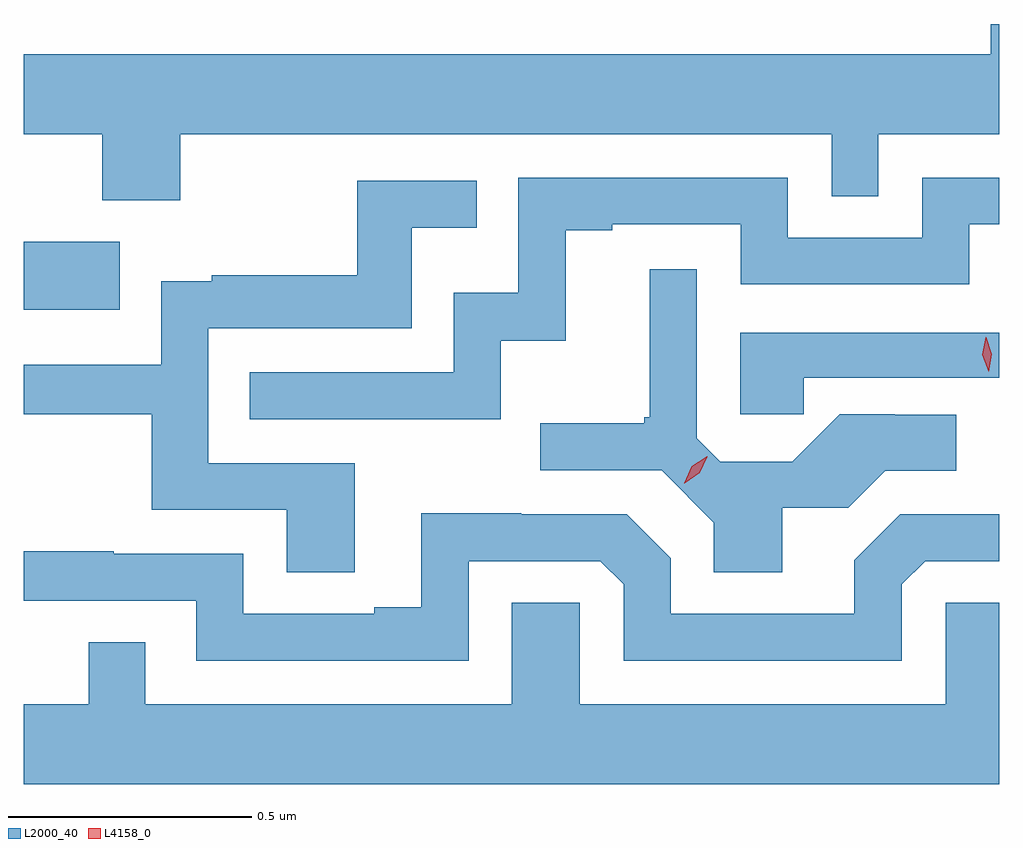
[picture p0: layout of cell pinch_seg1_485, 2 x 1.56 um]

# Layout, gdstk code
import gdstk
lib = gdstk.Library(unit=1e-6, precision=1e-09)
def R(c, l, rs):  # rectangles x0, y0, x1, y1
    for r in rs: c.add(gdstk.rectangle(r[:2], r[2:], *l))
def P(c, l, *ps):  # polygons
    for p in ps: c.add(gdstk.Polygon(p, *l))
L2000_40 = (2000, 40)
L4158_0 = (4158, 0)

pinch_seg1_485 = lib.new_cell('pinch_seg1_485')
R(pinch_seg1_485, L2000_40, [(1085.334,542.048,1085.531,542.188)])
P(pinch_seg1_485, L2000_40, [(1085.655,542.408),(1086.99,542.408),(1086.99,542.281),(1087.086,542.281),(1087.086,542.408),(1087.334,542.408),(1087.334,542.634),(1087.316,542.634),(1087.316,542.572),(1085.334,542.572),(1085.334,542.408),(1085.495,542.408),(1085.495,542.273),(1085.655,542.273)],
  [(1086.312,541.985),(1086.445,541.985),(1086.445,542.211),(1086.541,542.211),(1086.541,542.223),(1086.804,542.223),(1086.804,542.1),(1087.272,542.1),(1087.272,542.223),(1087.334,542.223),(1087.334,542.319),(1087.176,542.319),(1087.176,542.196),(1086.9,542.196),(1086.9,542.319),(1086.348,542.319),(1086.348,542.083),(1086.216,542.083),(1086.216,541.92),(1085.797,541.92),(1085.797,541.824),(1086.312,541.824)],
  [(1086.013,541.734),(1085.712,541.734),(1085.712,542.01),(1086.129,542.01),(1086.129,542.216),(1086.263,542.216),(1086.263,542.313),(1086.018,542.313),(1086.018,542.119),(1085.719,542.119),(1085.719,542.107),(1085.616,542.107),(1085.616,541.935),(1085.334,541.935),(1085.334,541.834),(1085.596,541.834),(1085.596,541.638),(1085.873,541.638),(1085.873,541.51),(1086.013,541.51)],
  [(1086.889,541.642),(1087.024,541.642),(1087.1,541.718),(1087.246,541.718),(1087.246,541.833),(1087.12,541.833),(1087.12,541.834),(1087.007,541.834),(1086.91,541.737),(1086.762,541.737),(1086.714,541.785),(1086.714,542.131),(1086.617,542.131),(1086.617,541.828),(1086.606,541.828),(1086.606,541.816),(1086.393,541.816),(1086.393,541.719),(1086.642,541.719),(1086.749,541.612),(1086.749,541.51),(1086.889,541.51)],
  [(1086.933,541.909),(1087.334,541.909),(1087.334,542.001),(1086.803,542.001),(1086.803,541.834),(1086.933,541.834)],
  [(1086.246,541.533),(1086.516,541.533),(1086.564,541.485),(1086.564,541.329),(1087.134,541.329),(1087.134,541.485),(1087.182,541.533),(1087.334,541.533),(1087.334,541.629),(1087.131,541.629),(1087.037,541.535),(1087.037,541.425),(1086.66,541.425),(1086.66,541.539),(1086.57,541.629),(1086.354,541.629),(1086.354,541.631),(1086.149,541.631),(1086.149,541.438),(1086.053,541.438),(1086.053,541.425),(1085.784,541.425),(1085.784,541.548),(1085.519,541.548),(1085.519,541.553),(1085.334,541.553),(1085.334,541.452),(1085.688,541.452),(1085.688,541.329),(1086.246,541.329)],
  [(1087.334,541.448),(1087.224,541.448),(1087.224,541.24),(1086.474,541.24),(1086.474,541.448),(1086.335,541.448),(1086.335,541.24),(1085.583,541.24),(1085.583,541.367),(1085.467,541.367),(1085.467,541.24),(1085.334,541.24),(1085.334,541.076),(1087.334,541.076)])
P(pinch_seg1_485, L4158_0, [(1086.688,541.693),(1086.688,541.693),(1086.704,541.727),(1086.735,541.748),(1086.735,541.748),(1086.735,541.747),(1086.72,541.714),(1086.689,541.693)],
  [(1087.312,541.921),(1087.312,541.921),(1087.299,541.956),(1087.306,541.992),(1087.306,541.992),(1087.307,541.992),(1087.319,541.957),(1087.312,541.921)])

lib.write_gds('pinch_seg1_485.gds')
